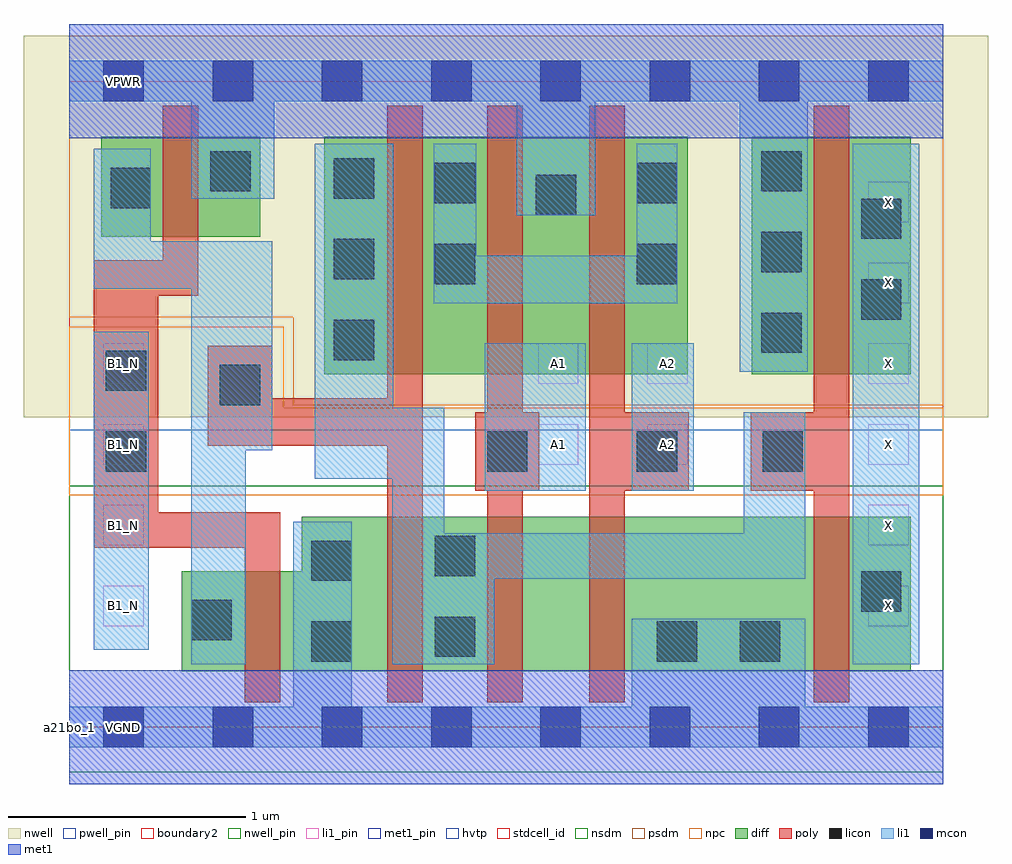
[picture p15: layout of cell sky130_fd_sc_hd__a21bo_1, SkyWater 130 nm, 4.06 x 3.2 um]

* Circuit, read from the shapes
.subckt sky130_fd_sc_hd__a21bo_1 A1 A2 B1_N VGND VNB VPB VPWR X
XM1 VGND B1_N n1 VNB sky130_fd_pr__nfet_01v8 w=0.42 l=0.15
XM2 n2 n1 VGND VNB sky130_fd_pr__nfet_01v8 w=0.65 l=0.15
XM3 n3 A1 n2 VNB sky130_fd_pr__nfet_01v8 w=0.65 l=0.15
XM4 VGND A2 n3 VNB sky130_fd_pr__nfet_01v8 w=0.65 l=0.15
XM5 X n2 VGND VNB sky130_fd_pr__nfet_01v8 w=0.65 l=0.15
XM6 VPWR B1_N n1 VPB sky130_fd_pr__pfet_01v8_hvt w=0.42 l=0.15
XM7 n4 n1 n2 VPB sky130_fd_pr__pfet_01v8_hvt w=1 l=0.15
XM8 VPWR A1 n4 VPB sky130_fd_pr__pfet_01v8_hvt w=1 l=0.15
XM9 n4 A2 VPWR VPB sky130_fd_pr__pfet_01v8_hvt w=1 l=0.15
XM10 X n2 VPWR VPB sky130_fd_pr__pfet_01v8_hvt w=1 l=0.15
.ends

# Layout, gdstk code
import gdstk
lib = gdstk.Library(unit=1e-6, precision=1e-09)
def R(c, l, rs):  # rectangles x0, y0, x1, y1
    for r in rs: c.add(gdstk.rectangle(r[:2], r[2:], *l))
def A(c, l, x, y, w, h, nx, ny, dx, dy):  # array of equal rectangles
    R(c, l, [(x+i*dx, y+j*dy, x+i*dx+w, y+j*dy+h) for i in range(nx) for j in range(ny)])
def P(c, l, *ps):  # polygons
    for p in ps: c.add(gdstk.Polygon(p, *l))
nwell_pin = (64, 16)
nwell = (64, 20)
diff = (65, 20)
poly = (66, 20)
licon = (66, 44)
li1_pin = (67, 16)
li1 = (67, 20)
mcon = (67, 44)
met1_pin = (68, 16)
met1 = (68, 20)
hvtp = (78, 44)
stdcell_id = (81, 4)
nsdm = (93, 44)
psdm = (94, 20)
npc = (95, 20)
pwell_pin = (122, 16)
boundary2 = (236, 0)

sky130_fd_sc_hd__a21bo_1 = lib.new_cell('sky130_fd_sc_hd__a21bo_1')
R(sky130_fd_sc_hd__a21bo_1, nwell_pin, [(0.145,2.635,0.315,2.805)])
R(sky130_fd_sc_hd__a21bo_1, nwell, [(-0.19,1.305,3.87,2.91)])
R(sky130_fd_sc_hd__a21bo_1, diff, [(1.075,1.485,2.605,2.485), (2.875,1.485,3.545,2.485), (0.135,2.065,0.805,2.485)])
P(sky130_fd_sc_hd__a21bo_1, diff, [(0.475,0.235),(0.475,0.655),(0.98,0.655),(0.98,0.885),(3.545,0.885),(3.545,0.235)])
P(sky130_fd_sc_hd__a21bo_1, poly, [(3.135,0.105),(3.135,0.995),(2.87,0.995),(2.87,1.325),(3.135,1.325),(3.135,2.615),(3.285,2.615),(3.285,0.105)],
  [(1.76,0.105),(1.76,0.995),(1.71,0.995),(1.71,1.325),(1.76,1.325),(1.76,2.615),(1.91,2.615),(1.91,1.325),(1.98,1.325),(1.98,0.995),(1.91,0.995),(1.91,0.105)],
  [(2.19,0.105),(2.19,2.615),(2.34,2.615),(2.34,1.325),(2.61,1.325),(2.61,0.995),(2.34,0.995),(2.34,0.105)],
  [(1.34,0.105),(1.34,1.185),(0.585,1.185),(0.585,1.605),(0.855,1.605),(0.855,1.385),(1.34,1.385),(1.34,2.615),(1.49,2.615),(1.49,0.105)],
  [(0.74,0.105),(0.74,0.755),(0.105,0.755),(0.105,1.965),(0.395,1.965),(0.395,2.615),(0.545,2.615),(0.545,1.815),(0.375,1.815),(0.375,0.905),(0.89,0.905),(0.89,0.105)])
A(sky130_fd_sc_hd__a21bo_1, licon, 1.115, 1.545, 0.17, 0.17, 1, 3, 0, 0.34)
A(sky130_fd_sc_hd__a21bo_1, licon, 2.915, 1.575, 0.17, 0.17, 1, 3, 0, 0.34)
R(sky130_fd_sc_hd__a21bo_1, licon, [(1.02,0.275,1.19,0.445), (2.475,0.275,2.645,0.445), (2.825,0.275,2.995,0.445), (1.54,0.295,1.71,0.465), (0.515,0.365,0.685,0.535), (3.335,0.485,3.505,0.655), (1.02,0.615,1.19,0.785), (1.54,0.635,1.71,0.805), (0.155,1.075,0.325,1.245), (1.76,1.075,1.93,1.245), (2.39,1.075,2.56,1.245), (2.92,1.075,3.09,1.245), (0.635,1.355,0.805,1.525), (0.155,1.415,0.325,1.585), (3.335,1.715,3.505,1.885), (1.54,1.865,1.71,2.035), (2.39,1.865,2.56,2.035), (3.335,2.055,3.505,2.225), (1.965,2.155,2.135,2.325), (0.175,2.185,0.345,2.355), (1.54,2.205,1.71,2.375), (2.39,2.205,2.56,2.375), (0.595,2.255,0.765,2.425)])
A(sky130_fd_sc_hd__a21bo_1, li1_pin, 0.145, 0.425, 0.17, 0.17, 1, 4, 0, 0.34)
A(sky130_fd_sc_hd__a21bo_1, li1_pin, 3.365, 0.425, 0.17, 0.17, 1, 6, 0, 0.34)
R(sky130_fd_sc_hd__a21bo_1, li1_pin, [(1.975,1.105,2.145,1.275), (2.435,1.105,2.605,1.275), (1.975,1.445,2.145,1.615), (2.435,1.445,2.605,1.615)])
R(sky130_fd_sc_hd__a21bo_1, li1, [(3.3,0.265,3.58,2.455), (0.105,0.325,0.335,1.665), (1.75,0.995,2.175,1.615), (2.37,0.995,2.63,1.615)])
P(sky130_fd_sc_hd__a21bo_1, li1, [(0.515,0.265),(0.515,1.845),(0.105,1.845),(0.105,2.435),(0.345,2.435),(0.345,2.045),(0.855,2.045),(0.855,1.165),(0.745,1.165),(0.745,0.265)],
  [(1.535,1.785),(1.535,2.455),(1.715,2.455),(1.715,1.985),(2.39,1.985),(2.39,2.455),(2.56,2.455),(2.56,1.785)],
  [(1.36,0.265),(1.36,1.045),(1.035,1.045),(1.035,2.455),(1.365,2.455),(1.365,1.345),(1.58,1.345),(1.58,0.815),(2.84,0.815),(2.84,1.325),(3.1,1.325),(3.1,0.625),(1.79,0.625),(1.79,0.265)],
  [(0,-0.085),(0,0.085),(0.945,0.085),(0.945,0.865),(1.19,0.865),(1.19,0.085),(2.37,0.085),(2.37,0.455),(3.1,0.455),(3.1,0.085),(3.68,0.085),(3.68,-0.085)],
  [(2.825,1.495),(2.825,2.635),(2.215,2.635),(2.215,2.155),(1.885,2.155),(1.885,2.635),(0.865,2.635),(0.865,2.225),(0.515,2.225),(0.515,2.635),(0,2.635),(0,2.805),(3.68,2.805),(3.68,2.635),(3.11,2.635),(3.11,1.495)])
A(sky130_fd_sc_hd__a21bo_1, mcon, 0.145, -0.085, 0.17, 0.17, 8, 2, 0.46, 2.72)
R(sky130_fd_sc_hd__a21bo_1, met1_pin, [(0.145,-0.085,0.315,0.085), (0.145,2.635,0.315,2.805)])
R(sky130_fd_sc_hd__a21bo_1, hvtp, [(0,1.25,3.68,2.72)])
R(sky130_fd_sc_hd__a21bo_1, stdcell_id, [(0,0,3.68,2.72)])
R(sky130_fd_sc_hd__a21bo_1, nsdm, [(0,-0.19,3.68,1.015)])
P(sky130_fd_sc_hd__a21bo_1, psdm, [(0.945,1.355),(0.945,1.725),(0,1.725),(0,2.91),(3.68,2.91),(3.68,1.355)])
P(sky130_fd_sc_hd__a21bo_1, npc, [(0,0.975),(0,1.685),(0.905,1.685),(0.905,1.345),(3.68,1.345),(3.68,0.975)])
R(sky130_fd_sc_hd__a21bo_1, pwell_pin, [(0.145,-0.085,0.315,0.085)])
R(sky130_fd_sc_hd__a21bo_1, boundary2, [(0,0,3.68,2.72)])
sky130_fd_sc_hd__a21bo_1.add(gdstk.FlexPath([(0,0),(3.68,0)], 0.48, ends="flush", simple_path=True, layer=68, datatype=20))  # met1
sky130_fd_sc_hd__a21bo_1.add(gdstk.FlexPath([(0,2.72),(3.68,2.72)], 0.48, ends="flush", simple_path=True, layer=68, datatype=20))  # met1
sky130_fd_sc_hd__a21bo_1.add(gdstk.Label('X', (3.45,1.87), layer=67, texttype=5))
sky130_fd_sc_hd__a21bo_1.add(gdstk.Label('X', (3.45,2.21), layer=67, texttype=5))
sky130_fd_sc_hd__a21bo_1.add(gdstk.Label('A1', (2.06,1.19), layer=67, texttype=5))
sky130_fd_sc_hd__a21bo_1.add(gdstk.Label('X', (3.45,1.53), layer=67, texttype=5))
sky130_fd_sc_hd__a21bo_1.add(gdstk.Label('X', (3.45,1.19), layer=67, texttype=5))
sky130_fd_sc_hd__a21bo_1.add(gdstk.Label('B1_N', (0.23,1.19), layer=67, texttype=5))
sky130_fd_sc_hd__a21bo_1.add(gdstk.Label('X', (3.45,0.85), layer=67, texttype=5))
sky130_fd_sc_hd__a21bo_1.add(gdstk.Label('A2', (2.52,1.19), layer=67, texttype=5))
sky130_fd_sc_hd__a21bo_1.add(gdstk.Label('B1_N', (0.23,1.53), layer=67, texttype=5))
sky130_fd_sc_hd__a21bo_1.add(gdstk.Label('X', (3.45,0.51), layer=67, texttype=5))
sky130_fd_sc_hd__a21bo_1.add(gdstk.Label('B1_N', (0.23,0.85), layer=67, texttype=5))
sky130_fd_sc_hd__a21bo_1.add(gdstk.Label('B1_N', (0.23,0.51), layer=67, texttype=5))
sky130_fd_sc_hd__a21bo_1.add(gdstk.Label('A1', (2.06,1.53), layer=67, texttype=5))
sky130_fd_sc_hd__a21bo_1.add(gdstk.Label('A2', (2.52,1.53), layer=67, texttype=5))
sky130_fd_sc_hd__a21bo_1.add(gdstk.Label('VGND', (0.23,0), layer=68, texttype=5))
sky130_fd_sc_hd__a21bo_1.add(gdstk.Label('VPWR', (0.23,2.72), layer=68, texttype=5))
sky130_fd_sc_hd__a21bo_1.add(gdstk.Label('VPB', (0.23,2.72), layer=64, texttype=5))
sky130_fd_sc_hd__a21bo_1.add(gdstk.Label('VNB', (0.23,0), layer=64, texttype=59))
sky130_fd_sc_hd__a21bo_1.add(gdstk.Label('a21bo_1', (0,0), layer=83, texttype=44))

lib.write_gds('sky130_fd_sc_hd__a21bo_1.gds')
